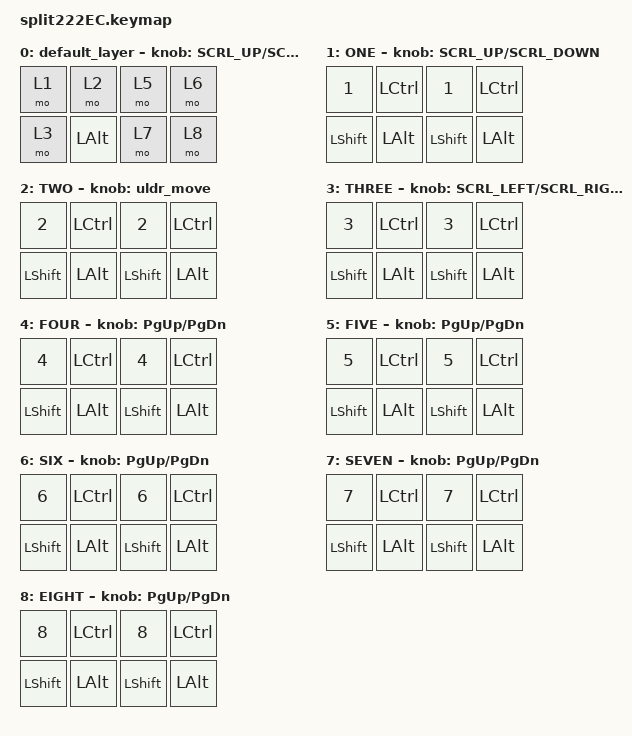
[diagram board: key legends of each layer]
#define ZMK_POINTING_DEFAULT_MOVE_VAL 800
#define ZMK_POINTING_DEFAULT_SCRL_VAL 120

#include <input/processors.dtsi>
#include <zephyr/dt-bindings/input/input-event-codes.h>
#include <behaviors.dtsi>
#include <dt-bindings/zmk/keys.h>
#include <dt-bindings/zmk/pointing.h>

#define ONE 1
#define TWO 2
#define THREE 3
#define FOUR 4
#define FIVE 5
#define SIX 6
#define SEVEN 7
#define EIGHT 8

&mmv {
    delay-ms = <0>;
    trigger-period-ms = <10>;
    time-to-max-speed-ms = <0>;
    acceleration-exponent = <1>;
};

&msc {
    delay-ms = <0>;
    trigger-period-ms = <10>;
    time-to-max-speed-ms = <0>;
    acceleration-exponent = <0>;
};

&mmv_input_listener {
    warp {
        layers = <ONE>;
        input-processors = <&zip_xy_scaler 2 1>;
    };

    precision {
        layers = <TWO>;
        input-processors = <&zip_xy_scaler 1 4>;
    };
};

/ {
    input_processors {
        zip_wheel_scaler: zip_wheel_scaler {
            compatible = "zmk,input-processor-scaler";
            #input-processor-cells = <2>;
            type = <INPUT_EV_REL>;
            codes = <INPUT_REL_WHEEL>;
            track-remainders;
        };
    };
};

&msc_input_listener {
    warp {
        layers = <ONE>;
        input-processors = <&zip_wheel_scaler 4 1>;
    };

    precision {
        layers = <TWO>;
        input-processors = <&zip_wheel_scaler 1 2>;
    };
};

/ {
    behaviors {
        rot_kp: sensor_rotate_kp {
            compatible = "zmk,behavior-sensor-rotate-var";
            #sensor-binding-cells = <2>;
            bindings = <&kp>, <&kp>;
        };

        mouse_click: mouse_button_kp {
            compatible = "zmk,behavior-sensor-rotate-var";
            #sensor-binding-cells = <2>;
            bindings = <&mkp>, <&mkp>;
        };

        mouse_mv: mouse_cursor_move {
            compatible = "zmk,behavior-sensor-rotate-var";
            #sensor-binding-cells = <2>;
            bindings = <&mmv>, <&mmv>;

            tap-ms = <10>;
        };

        mouse_scrl: mouse_wheel_scrl {
            compatible = "zmk,behavior-sensor-rotate-var";
            #sensor-binding-cells = <2>;
            bindings = <&msc>, <&msc>;

            tap-ms = <10>;
        };

        ul_move: move_up_left {
            compatible = "zmk,behavior-mod-morph";
            label = "MOVE UP LEFT";
            #binding-cells = <0>;
            bindings = <&mmv MOVE_UP>, <&mmv MOVE_LEFT>;

            mods = <MOD_LALT>;
        };

        dr_move: move_down_right {
            compatible = "zmk,behavior-mod-morph";
            label = "MOVE DOWN RIGHT";
            #binding-cells = <0>;
            bindings = <&mmv MOVE_DOWN>, <&mmv MOVE_RIGHT>;

            mods = <MOD_LALT>;
        };

        uldr_move: move_up_left_down_right {
            compatible = "zmk,behavior-sensor-rotate";
            #sensor-binding-cells = <0>;
            bindings = <&ul_move>, <&dr_move>;

            tap-ms = <10>;
        };
    };

    keymap {
        compatible = "zmk,keymap";

        default_layer {
            bindings = <
&mo 1  &mo 2     &mo 5  &mo 6
&mo 3  &kp LALT  &mo 7  &mo 8
            >;

            sensor-bindings = <&mouse_scrl SCRL_UP SCRL_DOWN>;
        };

        ONE {
            bindings = <
&kp N1      &kp LCTRL  &kp N1      &kp LCTRL
&kp LSHIFT  &kp LALT   &kp LSHIFT  &kp LALT
            >;

            sensor-bindings = <&mouse_scrl SCRL_UP SCRL_DOWN>;
        };

        TWO {
            bindings = <
&kp N2      &kp LCTRL  &kp N2      &kp LCTRL
&kp LSHIFT  &kp LALT   &kp LSHIFT  &kp LALT
            >;

            sensor-bindings = <&uldr_move>;
        };

        THREE {
            bindings = <
&kp N3      &kp LCTRL  &kp N3      &kp LCTRL
&kp LSHIFT  &kp LALT   &kp LSHIFT  &kp LALT
            >;

            sensor-bindings = <&mouse_scrl SCRL_LEFT SCRL_RIGHT>;
        };

        FOUR {
            bindings = <
&kp N4      &kp LCTRL  &kp N4      &kp LCTRL
&kp LSHIFT  &kp LALT   &kp LSHIFT  &kp LALT
            >;

            sensor-bindings = <&rot_kp PG_UP PG_DN>;
        };

        FIVE {
            bindings = <
&kp N5      &kp LCTRL  &kp N5      &kp LCTRL
&kp LSHIFT  &kp LALT   &kp LSHIFT  &kp LALT
            >;

            sensor-bindings = <&rot_kp PG_UP PG_DN>;
        };

        SIX {
            bindings = <
&kp N6      &kp LCTRL  &kp N6      &kp LCTRL
&kp LSHIFT  &kp LALT   &kp LSHIFT  &kp LALT
            >;

            sensor-bindings = <&rot_kp PG_UP PG_DN>;
        };

        SEVEN {
            bindings = <
&kp N7      &kp LCTRL  &kp N7      &kp LCTRL
&kp LSHIFT  &kp LALT   &kp LSHIFT  &kp LALT
            >;

            sensor-bindings = <&rot_kp PG_UP PG_DN>;
        };

        EIGHT {
            bindings = <
&kp N8      &kp LCTRL  &kp N8      &kp LCTRL
&kp LSHIFT  &kp LALT   &kp LSHIFT  &kp LALT
            >;

            sensor-bindings = <&rot_kp PG_UP PG_DN>;
        };
    };
};
